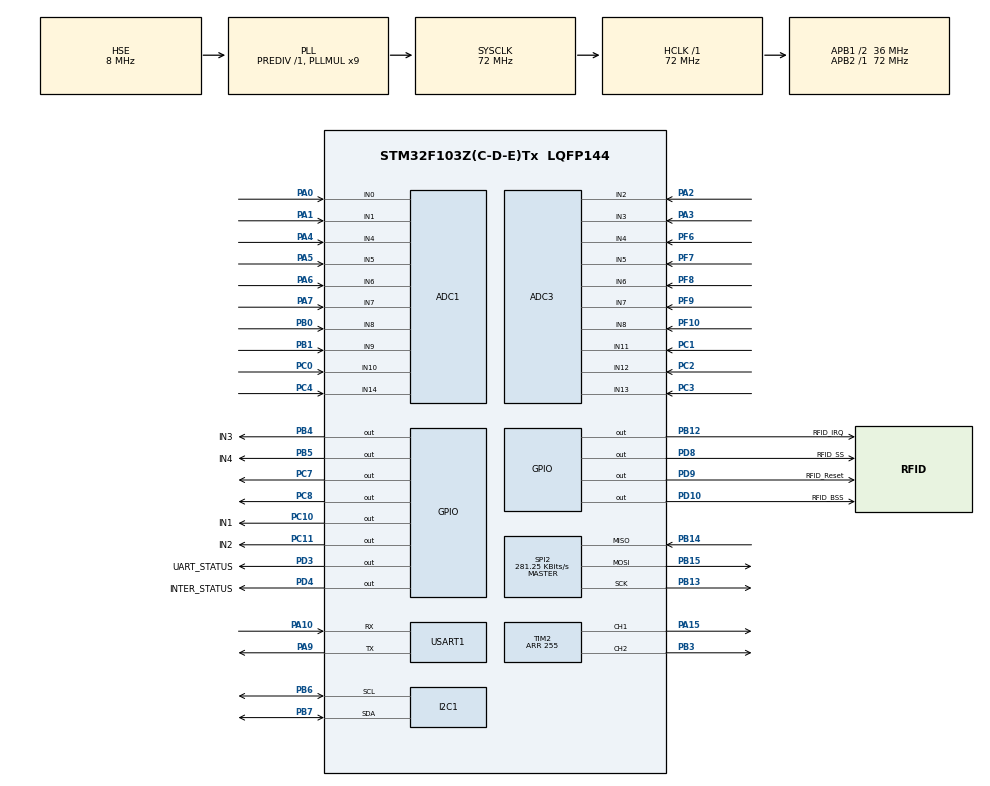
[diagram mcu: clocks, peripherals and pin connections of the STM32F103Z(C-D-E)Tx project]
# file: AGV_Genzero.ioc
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ADC1.Channel-0\#ChannelRegularConversion=ADC_CHANNEL_0
ADC1.Channel-1\#ChannelRegularConversion=ADC_CHANNEL_1
ADC1.Channel-2\#ChannelRegularConversion=ADC_CHANNEL_4
ADC1.Channel-3\#ChannelRegularConversion=ADC_CHANNEL_5
ADC1.Channel-4\#ChannelRegularConversion=ADC_CHANNEL_6
ADC1.Channel-5\#ChannelRegularConversion=ADC_CHANNEL_7
ADC1.Channel-6\#ChannelRegularConversion=ADC_CHANNEL_8
ADC1.Channel-7\#ChannelRegularConversion=ADC_CHANNEL_9
ADC1.Channel-8\#ChannelRegularConversion=ADC_CHANNEL_10
ADC1.Channel-9\#ChannelRegularConversion=ADC_CHANNEL_14
ADC1.ContinuousConvMode=ENABLE
ADC1.NbrOfConversion=10
ADC1.NbrOfConversionFlag=1
ADC1.Rank-0\#ChannelRegularConversion=1
ADC1.Rank-1\#ChannelRegularConversion=2
ADC1.Rank-2\#ChannelRegularConversion=3
ADC1.Rank-3\#ChannelRegularConversion=4
ADC1.Rank-4\#ChannelRegularConversion=5
ADC1.Rank-5\#ChannelRegularConversion=6
ADC1.Rank-6\#ChannelRegularConversion=7
ADC1.Rank-7\#ChannelRegularConversion=8
ADC1.Rank-8\#ChannelRegularConversion=9
ADC1.Rank-9\#ChannelRegularConversion=10
ADC1.SamplingTime-0\#ChannelRegularConversion=ADC_SAMPLETIME_28CYCLES_5
ADC1.SamplingTime-1\#ChannelRegularConversion=ADC_SAMPLETIME_28CYCLES_5
ADC1.SamplingTime-2\#ChannelRegularConversion=ADC_SAMPLETIME_28CYCLES_5
ADC1.SamplingTime-3\#ChannelRegularConversion=ADC_SAMPLETIME_28CYCLES_5
ADC1.SamplingTime-4\#ChannelRegularConversion=ADC_SAMPLETIME_28CYCLES_5
ADC1.SamplingTime-5\#ChannelRegularConversion=ADC_SAMPLETIME_28CYCLES_5
ADC1.SamplingTime-6\#ChannelRegularConversion=ADC_SAMPLETIME_28CYCLES_5
ADC1.SamplingTime-7\#ChannelRegularConversion=ADC_SAMPLETIME_28CYCLES_5
ADC1.SamplingTime-8\#ChannelRegularConversion=ADC_SAMPLETIME_28CYCLES_5
ADC1.SamplingTime-9\#ChannelRegularConversion=ADC_SAMPLETIME_28CYCLES_5
ADC1.master=1
ADC3.Channel-10\#ChannelRegularConversion=ADC_CHANNEL_12
ADC3.Channel-11\#ChannelRegularConversion=ADC_CHANNEL_13
ADC3.Channel-2\#ChannelRegularConversion=ADC_CHANNEL_2
ADC3.Channel-3\#ChannelRegularConversion=ADC_CHANNEL_3
ADC3.Channel-4\#ChannelRegularConversion=ADC_CHANNEL_4
ADC3.Channel-5\#ChannelRegularConversion=ADC_CHANNEL_5
ADC3.Channel-6\#ChannelRegularConversion=ADC_CHANNEL_6
ADC3.Channel-7\#ChannelRegularConversion=ADC_CHANNEL_7
ADC3.Channel-8\#ChannelRegularConversion=ADC_CHANNEL_8
ADC3.Channel-9\#ChannelRegularConversion=ADC_CHANNEL_11
ADC3.ContinuousConvMode=ENABLE
ADC3.NbrOfConversion=10
ADC3.NbrOfConversionFlag=1
ADC3.Rank-10\#ChannelRegularConversion=9
ADC3.Rank-11\#ChannelRegularConversion=10
ADC3.Rank-2\#ChannelRegularConversion=1
ADC3.Rank-3\#ChannelRegularConversion=2
ADC3.Rank-4\#ChannelRegularConversion=3
ADC3.Rank-5\#ChannelRegularConversion=4
ADC3.Rank-6\#ChannelRegularConversion=5
ADC3.Rank-7\#ChannelRegularConversion=6
ADC3.Rank-8\#ChannelRegularConversion=7
ADC3.Rank-9\#ChannelRegularConversion=8
ADC3.SamplingTime-10\#ChannelRegularConversion=ADC_SAMPLETIME_28CYCLES_5
ADC3.SamplingTime-11\#ChannelRegularConversion=ADC_SAMPLETIME_28CYCLES_5
ADC3.SamplingTime-2\#ChannelRegularConversion=ADC_SAMPLETIME_28CYCLES_5
ADC3.SamplingTime-3\#ChannelRegularConversion=ADC_SAMPLETIME_28CYCLES_5
ADC3.SamplingTime-4\#ChannelRegularConversion=ADC_SAMPLETIME_28CYCLES_5
ADC3.SamplingTime-5\#ChannelRegularConversion=ADC_SAMPLETIME_28CYCLES_5
ADC3.SamplingTime-6\#ChannelRegularConversion=ADC_SAMPLETIME_28CYCLES_5
ADC3.SamplingTime-7\#ChannelRegularConversion=ADC_SAMPLETIME_28CYCLES_5
ADC3.SamplingTime-8\#ChannelRegularConversion=ADC_SAMPLETIME_28CYCLES_5
ADC3.SamplingTime-9\#ChannelRegularConversion=ADC_SAMPLETIME_28CYCLES_5
Dma.ADC1.1.Direction=DMA_PERIPH_TO_MEMORY
Dma.ADC1.1.Instance=DMA1_Channel1
Dma.ADC1.1.MemDataAlignment=DMA_MDATAALIGN_HALFWORD
Dma.ADC1.1.MemInc=DMA_MINC_ENABLE
Dma.ADC1.1.Mode=DMA_CIRCULAR
Dma.ADC1.1.PeriphDataAlignment=DMA_PDATAALIGN_HALFWORD
Dma.ADC1.1.PeriphInc=DMA_PINC_DISABLE
Dma.ADC1.1.Priority=DMA_PRIORITY_LOW
Dma.ADC3.0.Direction=DMA_PERIPH_TO_MEMORY
Dma.ADC3.0.Instance=DMA2_Channel5
Dma.ADC3.0.MemDataAlignment=DMA_MDATAALIGN_HALFWORD
Dma.ADC3.0.MemInc=DMA_MINC_ENABLE
Dma.ADC3.0.Mode=DMA_CIRCULAR
Dma.ADC3.0.PeriphDataAlignment=DMA_PDATAALIGN_HALFWORD
Dma.ADC3.0.PeriphInc=DMA_PINC_DISABLE
Dma.ADC3.0.Priority=DMA_PRIORITY_LOW
Dma.Request0=ADC3
Dma.Request1=ADC1
Dma.Request2=USART1_TX
Dma.Request3=USART1_RX
Dma.USART1_RX.3.Direction=DMA_PERIPH_TO_MEMORY
Dma.USART1_RX.3.Instance=DMA1_Channel5
Dma.USART1_RX.3.MemDataAlignment=DMA_MDATAALIGN_BYTE
Dma.USART1_RX.3.MemInc=DMA_MINC_ENABLE
Dma.USART1_RX.3.Mode=DMA_CIRCULAR
Dma.USART1_RX.3.PeriphDataAlignment=DMA_PDATAALIGN_BYTE
Dma.USART1_RX.3.PeriphInc=DMA_PINC_DISABLE
Dma.USART1_RX.3.Priority=DMA_PRIORITY_LOW
Dma.USART1_TX.2.Direction=DMA_MEMORY_TO_PERIPH
Dma.USART1_TX.2.Instance=DMA1_Channel4
Dma.USART1_TX.2.MemDataAlignment=DMA_MDATAALIGN_BYTE
Dma.USART1_TX.2.MemInc=DMA_MINC_ENABLE
Dma.USART1_TX.2.Mode=DMA_CIRCULAR
Dma.USART1_TX.2.PeriphDataAlignment=DMA_PDATAALIGN_BYTE
Dma.USART1_TX.2.PeriphInc=DMA_PINC_DISABLE
Dma.USART1_TX.2.Priority=DMA_PRIORITY_LOW
I2C1.I2C_Mode=I2C_Fast
Mcu.Family=STM32F1
Mcu.Name=STM32F103Z(C-D-E)Tx
Mcu.Package=LQFP144
NVIC.ADC1_2_IRQn=true\:0\:0\:false\:false\:true\:true\:true\:true
NVIC.ADC3_IRQn=true\:0\:0\:false\:false\:true\:true\:true\:true
NVIC.DMA1_Channel1_IRQn=true\:0\:0\:false\:false\:true\:false\:true\:true
NVIC.DMA1_Channel4_IRQn=true\:0\:0\:false\:false\:true\:false\:true\:true
NVIC.DMA1_Channel5_IRQn=true\:0\:0\:false\:false\:true\:false\:true\:true
NVIC.DMA2_Channel4_5_IRQn=true\:0\:0\:false\:false\:true\:false\:true\:true
NVIC.PriorityGroup=NVIC_PRIORITYGROUP_4
NVIC.USART1_IRQn=true\:0\:0\:false\:false\:true\:true\:true\:true
OSC_IN.Mode=HSE-External-Oscillator
OSC_IN.Signal=RCC_OSC_IN
OSC_OUT.Mode=HSE-External-Oscillator
OSC_OUT.Signal=RCC_OSC_OUT
PA0-WKUP.Signal=ADCx_IN0
PA1.Signal=ADCx_IN1
PA10.Mode=Asynchronous
PA10.Signal=USART1_RX
PA13.Mode=Serial_Wire
PA13.Signal=SYS_JTMS-SWDIO
PA14.Mode=Serial_Wire
PA14.Signal=SYS_JTCK-SWCLK
PA15.Signal=S_TIM2_CH1_ETR
PA2.Signal=ADCx_IN2
PA3.Signal=ADCx_IN3
PA4.Signal=ADCx_IN4
PA5.Signal=ADCx_IN5
PA6.Signal=ADCx_IN6
PA7.Signal=ADCx_IN7
PA9.Mode=Asynchronous
PA9.Signal=USART1_TX
PB0.Signal=ADCx_IN8
PB1.Signal=ADCx_IN9
PB12.GPIO_Label=RFID_IRQ
PB12.Signal=GPIO_Output
PB13.Mode=Full_Duplex_Master
PB13.Signal=SPI2_SCK
PB14.Mode=Full_Duplex_Master
PB14.Signal=SPI2_MISO
PB15.Mode=Full_Duplex_Master
PB15.Signal=SPI2_MOSI
PB3.Signal=S_TIM2_CH2
PB4.GPIO_Label=IN3
PB4.Signal=GPIO_Output
PB5.GPIO_Label=IN4
PB5.Signal=GPIO_Output
PB6.Mode=I2C
PB6.Signal=I2C1_SCL
PB7.Mode=I2C
PB7.Signal=I2C1_SDA
PC0.Signal=ADCx_IN10
PC1.Signal=ADCx_IN11
PC10.GPIO_Label=IN1
PC10.Signal=GPIO_Output
PC11.GPIO_Label=IN2
PC11.Signal=GPIO_Output
PC2.Signal=ADCx_IN12
PC3.Signal=ADCx_IN13
PC4.Signal=ADCx_IN14
PC7.GPIO_Speed=GPIO_SPEED_FREQ_HIGH
PC7.Signal=GPIO_Output
PC8.GPIO_Speed=GPIO_SPEED_FREQ_HIGH
PC8.Signal=GPIO_Output
PD10.GPIO_Label=RFID_BSS
PD10.Signal=GPIO_Output
PD3.GPIO_Label=UART_STATUS
PD3.Signal=GPIO_Output
PD4.GPIO_Label=INTER_STATUS
PD4.Signal=GPIO_Output
PD8.GPIO_Label=RFID_SS
PD8.PinState=GPIO_PIN_SET
PD8.Signal=GPIO_Output
PD9.GPIO_Label=RFID_Reset
PD9.Signal=GPIO_Output
PF10.Mode=IN8
PF10.Signal=ADC3_IN8
PF6.Mode=IN4
PF6.Signal=ADC3_IN4
PF7.Mode=IN5
PF7.Signal=ADC3_IN5
PF8.Mode=IN6
PF8.Signal=ADC3_IN6
PF9.Mode=IN7
PF9.Signal=ADC3_IN7
ProjectManager.HeapSize=0x200
ProjectManager.StackSize=0x400
ProjectManager.TargetToolchain=STM32CubeIDE
RCC.ADCPresc=RCC_ADCPCLK2_DIV6
RCC.AHBFreq_Value=72000000
RCC.APB1CLKDivider=RCC_HCLK_DIV2
RCC.APB1Freq_Value=36000000
RCC.APB1TimFreq_Value=72000000
RCC.APB2Freq_Value=72000000
RCC.APB2TimFreq_Value=72000000
RCC.HCLKFreq_Value=72000000
RCC.PLLMUL=RCC_PLL_MUL9
RCC.PLLSourceVirtual=RCC_PLLSOURCE_HSE
RCC.SYSCLKFreq_VALUE=72000000
RCC.SYSCLKSource=RCC_SYSCLKSOURCE_PLLCLK
RCC.USBFreq_Value=72000000
SH.ADCx_IN0.0=ADC1_IN0,IN0
SH.ADCx_IN1.0=ADC1_IN1,IN1
SH.ADCx_IN10.0=ADC1_IN10,IN10
SH.ADCx_IN11.0=ADC3_IN11,IN11
SH.ADCx_IN12.0=ADC3_IN12,IN12
SH.ADCx_IN13.0=ADC3_IN13,IN13
SH.ADCx_IN14.0=ADC1_IN14,IN14
SH.ADCx_IN2.0=ADC3_IN2,IN2
SH.ADCx_IN3.0=ADC3_IN3,IN3
SH.ADCx_IN4.0=ADC1_IN4,IN4
SH.ADCx_IN5.0=ADC1_IN5,IN5
SH.ADCx_IN6.0=ADC1_IN6,IN6
SH.ADCx_IN7.0=ADC1_IN7,IN7
SH.ADCx_IN8.0=ADC1_IN8,IN8
SH.ADCx_IN9.0=ADC1_IN9,IN9
SH.S_TIM2_CH1_ETR.0=TIM2_CH1,PWM Generation1 CH1
SH.S_TIM2_CH2.0=TIM2_CH2,PWM Generation2 CH2
SPI2.BaudRatePrescaler=SPI_BAUDRATEPRESCALER_128
SPI2.CalculateBaudRate=281.25 KBits/s
SPI2.Direction=SPI_DIRECTION_2LINES
SPI2.FirstBit=SPI_FIRSTBIT_LSB
SPI2.Mode=SPI_MODE_MASTER
SPI2.VirtualType=VM_MASTER
TIM2.AutoReloadPreload=TIM_AUTORELOAD_PRELOAD_ENABLE
TIM2.Channel-PWM\ Generation1\ CH1=TIM_CHANNEL_1
TIM2.Channel-PWM\ Generation2\ CH2=TIM_CHANNEL_2
TIM2.Period=255
USART1.VirtualMode=VM_ASYNC
board=custom

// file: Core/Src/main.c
/* USER CODE BEGIN Header */
/**
  ******************************************************************************
  * @file           : main.c
  * @brief          : Main program body
  ******************************************************************************
  * @attention
  *
  * Copyright (c) 2024 STMicroelectronics.
  * All rights reserved.
  *
  * This software is licensed under terms that can be found in the LICENSE file
  * in the root directory of this software component.
  * If no LICENSE file comes with this software, it is provided AS-IS.
  *
  ******************************************************************************
  */
/* USER CODE END Header */
#include "main.h"

/* USER CODE BEGIN Includes */
#include "ssd1306.h"
#include "fonts.h"
#include "test.h"

#include "pn532_stm32f1.h"
/* USER CODE END Includes */

ADC_HandleTypeDef hadc1;
ADC_HandleTypeDef hadc3;
DMA_HandleTypeDef hdma_adc1;
DMA_HandleTypeDef hdma_adc3;

I2C_HandleTypeDef hi2c1;

SPI_HandleTypeDef hspi2;

TIM_HandleTypeDef htim2;

UART_HandleTypeDef huart1;
DMA_HandleTypeDef hdma_usart1_tx;
DMA_HandleTypeDef hdma_usart1_rx;

/* USER CODE BEGIN PV */

// #### LINE SENSOR VARIABLES ####

#define line_sensor_front_total_channel 10
#define line_sensor_back_total_channel 10

#define line_sensor_front_trigger_threshhold 400
#define line_sensor_back_trigger_threshhold 400

int _line_read_value;

volatile uint16_t line_sensor_front_values_dma[line_sensor_front_total_channel];
volatile uint16_t line_sensor_back_values_dma[line_sensor_back_total_channel];

volatile uint16_t line_sensor_front_values_calibrated[line_sensor_front_total_channel];
volatile uint16_t line_sensor_back_values_calibrated[line_sensor_back_total_channel];

volatile uint8_t line_sensor_front_on_line_left_number, line_sensor_front_on_line_middle_number, line_sensor_front_on_line_right_number;
volatile uint8_t line_sensor_front_on_line_total_number;

volatile uint8_t line_sensor_back_on_line_left_number, line_sensor_back_on_line_middle_number, line_sensor_back_on_line_right_number;
volatile uint8_t line_sensor_back_on_line_total_number;

uint16_t line_sensor_front_max_sensor_vales[line_sensor_front_total_channel] = {3000, 3004, 2980, 2995, 3000, 3003, 3008, 2985, 2999, 3000};
uint16_t line_sensor_front_min_sensor_vales[line_sensor_back_total_channel] = {1830, 1400, 1100, 880, 2200, 1150, 1040, 1000, 1350, 2100};

uint16_t line_sensor_back_max_sensor_vales[line_sensor_front_total_channel] = {3000, 3004, 2980, 2995, 3000, 3003, 3008, 2985, 2999, 3000};
uint16_t line_sensor_back_min_sensor_vales[line_sensor_back_total_channel] = {1830, 1400, 1100, 880, 2200, 1150, 1040, 1000, 1350, 2100};

const int line_sensor_front_channel_number = sizeof(line_sensor_front_values_dma)/sizeof(line_sensor_front_values_dma[0]);
const int line_sensor_back_channel_number = sizeof(line_sensor_back_values_dma)/sizeof(line_sensor_back_values_dma[0]);

volatile uint16_t line_sensor_front_read_line_value;
volatile uint16_t line_sensor_back_read_line_value;

// #### END LINE SENSOR VARIABLES ####

// -o-o-o-o-o-o-o-o-o-o-o-o-o-o-o-o-o-

// #### AGV ORIENTATION VARIABLES ####

uint16_t agv_orientation = 0xFFFF;

// #### END AGV ORIENTATION VARIABLES ####

// -o-o-o-o-o-o-o-o-o-o-o-o-o-o-o-o-o-

// #### DiSPLAY DATA AND BUTTON VARIABLES ####

uint8_t Tx_Data_Uart1[5];
uint8_t Rx_Data_Uart1[5];

// #### END DiSPLAY DATA AND BUTTON VARIABLES ####

// -o-o-o-o-o-o-o-o-o-o-o-o-o-o-o-o-o-

// #### PID and MOTOR SPEED VARIABLES ####

volatile float P, I, D;

float Kp = 0.4;
float Ki = 0.010;
float Kd = 0.4;

volatile float pid_last_error;
volatile float pid_error;
volatile float pid_motor_speed_change;

volatile uint16_t pid_motor_speed_A;
volatile uint16_t pid_motor_speed_B;
uint16_t pid_motor_base_speed = 200;

uint8_t agv_turn_count = 0;

uint8_t debug_oled[20];
// #### END PID and MOTOR SPEED VARIABLES ####

// -o-o-o-o-o-o-o-o-o-o-o-o-o-o-o-o-o-

// #### Task Completion Variables ####

uint16_t On_Task = 0xF00F;  // not on task = 0xF00F || on task = 0xF11F

uint8_t Station = 1;

uint8_t Current_Station = 1;
uint8_t Target_Station = 1;

uint8_t on_task_decisions[5] = {'R', 'F', 'L', 'A', 'A'};

uint16_t pid_motor_orientation;

// #### END Task Completion Variables ####

uint8_t uid[MIFARE_UID_MAX_LENGTH];
int32_t uid_len = 0;
uint8_t uid_version[10];
PN532 pn532;
uint8_t Station_id[5];

/* USER CODE END PV */

void SystemClock_Config(void);
static void MX_GPIO_Init(void);
static void MX_DMA_Init(void);
static void MX_ADC1_Init(void);
static void MX_ADC3_Init(void);
static void MX_USART1_UART_Init(void);
static void MX_TIM2_Init(void);
static void MX_I2C1_Init(void);
static void MX_SPI2_Init(void);

/* USER CODE BEGIN 0 */

void Line_Sensor_Calculation(volatile uint16_t *sensor_values,
						 	  volatile uint16_t *sensor_calibrated_values,
							      	   uint16_t *sensor_max_values,
									   uint16_t *sensor_min_values,

							  volatile uint8_t  *sensor_middle_on_line_number,

							  volatile uint8_t  *sensor_total_on_line_number,
									   uint16_t  sensor_threshhold,
									   uint8_t   sensor_numbers,
							  volatile uint16_t *line_position){
	uint8_t i, on_line = 0;
	uint32_t avg = 0;
	uint32_t sum = 0;
	uint16_t value;
	uint8_t on_sensor_total_number = 0;

	uint8_t middle_on_line = 0;

	for(i = 0; i < sensor_numbers; i++){
		uint16_t calmin, calmax;
		uint16_t denominator;
		calmax = sensor_max_values[i];
		calmin = sensor_min_values[i];

		denominator = calmax - calmin;

		int x = 0;
		if(denominator != 0){
			x = (((signed long)sensor_values[i]) - calmin) * 1000/denominator;
		}
		if(x <0){
			x = 0;
		}
		if(x>1000){
			x = 1000;
		}
		value = (1000-x);
		sensor_calibrated_values[i] = value;

		// start read line number section
		if(value > 400){
			on_line = 1;
		}
		if(value > 200){
			avg += (long)(value)*(i*1000);
			sum += value;
		}
		// end read line number section

		// start on line sensor calculation
		if(value > sensor_threshhold){
			on_sensor_total_number++;
			if(i >= 2 && i <= 7){
				middle_on_line++;
			}
		}
		// end on line sensor calculation
	}

	// start read line number section
	if(!on_line){
		if(_line_read_value < (sensor_numbers - 1) * 1000/2){
			_line_read_value = 0;
		}
		else{
			_line_read_value = (sensor_numbers - 1)*1000;
		}
	}
	else{
		_line_read_value = avg/sum;
	}
	*line_position = _line_read_value;
	// end read line number section

	// start on line sensor calculation

	*sensor_middle_on_line_number = middle_on_line;

	*sensor_total_on_line_number = on_sensor_total_number;
	// end on line sensor calculation
	// 0 - 1 - 2 - 3 - 4 - 5 - 6 - 7 - 8 - 9

	// 2 - 7 --> mid

}

void PID_control(volatile uint16_t *line_position,
				          uint16_t *motor_orientation){

	pid_error = 4500 - *line_position;

	P = pid_error;
	//I = error + I;
	I = 0;
	D = pid_error - pid_last_error;
	pid_last_error = pid_error;

	pid_motor_speed_change = P*Kp + I*Ki + D*Kd;

	pid_motor_speed_A = pid_motor_base_speed - pid_motor_speed_change;
	pid_motor_speed_B = pid_motor_base_speed + pid_motor_speed_change;

	if(pid_motor_speed_A > 255){
		pid_motor_speed_A = 255;
	}
	if(pid_motor_speed_A < 0){
		pid_motor_speed_A = 0;
	}
	if(pid_motor_speed_B > 255){
		pid_motor_speed_B = 255;
	}
	if(pid_motor_speed_B < 0){
		pid_motor_speed_B = 0;
	}

}

void PID_Forward_Rotation(uint16_t enableA, uint16_t enableB){

	//LEFT
	HAL_GPIO_WritePin(IN1_GPIO_Port, IN1_Pin, GPIO_PIN_SET);
	HAL_GPIO_WritePin(IN2_GPIO_Port, IN2_Pin, GPIO_PIN_RESET);

	//RIGHT
	HAL_GPIO_WritePin(IN3_GPIO_Port, IN3_Pin, GPIO_PIN_SET);
	HAL_GPIO_WritePin(IN4_GPIO_Port, IN4_Pin, GPIO_PIN_RESET);

	//Right
	__HAL_TIM_SET_COMPARE(&htim2, TIM_CHANNEL_1, enableA);

	//Left
	__HAL_TIM_SET_COMPARE(&htim2, TIM_CHANNEL_2, enableB);
}

void PID_Motor_Turn_Left(uint16_t _speed){
	//LEFT
	HAL_GPIO_WritePin(IN1_GPIO_Port, IN1_Pin, GPIO_PIN_RESET);
	HAL_GPIO_WritePin(IN2_GPIO_Port, IN2_Pin, GPIO_PIN_SET);

	//RIGHT
	HAL_GPIO_WritePin(IN3_GPIO_Port, IN3_Pin, GPIO_PIN_SET);
	HAL_GPIO_WritePin(IN4_GPIO_Port, IN4_Pin, GPIO_PIN_RESET);

	//Right
	__HAL_TIM_SET_COMPARE(&htim2, TIM_CHANNEL_1, _speed);

	//Left
	__HAL_TIM_SET_COMPARE(&htim2, TIM_CHANNEL_2, _speed);
}

void PID_Motor_Turn_Right(uint16_t _speed){
	//LEFT
	HAL_GPIO_WritePin(IN1_GPIO_Port, IN1_Pin, GPIO_PIN_SET);
	HAL_GPIO_WritePin(IN2_GPIO_Port, IN2_Pin, GPIO_PIN_RESET);

	//RIGHT
	HAL_GPIO_WritePin(IN3_GPIO_Port, IN3_Pin, GPIO_PIN_RESET);
	HAL_GPIO_WritePin(IN4_GPIO_Port, IN4_Pin, GPIO_PIN_SET);

	//Right
	__HAL_TIM_SET_COMPARE(&htim2, TIM_CHANNEL_1, _speed);

	//Left
	__HAL_TIM_SET_COMPARE(&htim2, TIM_CHANNEL_2, _speed);
}

void PID_Motor_All_Break(){
	//LEFT
	HAL_GPIO_WritePin(IN1_GPIO_Port, IN1_Pin, GPIO_PIN_RESET);
	HAL_GPIO_WritePin(IN2_GPIO_Port, IN2_Pin, GPIO_PIN_RESET);

	//RIGHT
	HAL_GPIO_WritePin(IN3_GPIO_Port, IN3_Pin, GPIO_PIN_RESET);
	HAL_GPIO_WritePin(IN4_GPIO_Port, IN4_Pin, GPIO_PIN_RESET);

	//Right
	__HAL_TIM_SET_COMPARE(&htim2, TIM_CHANNEL_1, 0);

	//Left
	__HAL_TIM_SET_COMPARE(&htim2, TIM_CHANNEL_2, 0);
}

void AGV_waiting(){
	if(Target_Station == Current_Station){
		On_Task = 0xF00F;
		if(Target_Station != Station){
			Target_Station = Station;
			if(Target_Station == 2){
				on_task_decisions[0] = 'R';
				on_task_decisions[1] = 'L';
				on_task_decisions[2] = 'A';
				on_task_decisions[3] = 'A';
				on_task_decisions[4] = 'A';
			}
			if(Target_Station == 3){
				on_task_decisions[0] = 'R';
				on_task_decisions[1] = 'F';
				on_task_decisions[2] = 'L';
				on_task_decisions[3] = 'A';
				on_task_decisions[4] = 'A';
			}
		}
	}
	if(Target_Station != Current_Station){
		On_Task = 0xF11F;
	}
}

void Task_Completion(){

}

void AGV_Turn_Detection_Completion(volatile uint16_t *sensor_calibrated_values,
								   volatile uint8_t  *sensor_middle_on_line_number,
								   	   	   	uint8_t  *decision_array){
#define white_detection_thresh_hold 350
#define black_detection_thresh_hold 500
#define sensor_mid_on_line_thresh_hold 1
#define first_timer_buffer 1500
#define second_timer_buffer 800
#define skip_turn_timer_buffer 100

	uint8_t _turn_decide = 0;

	if((sensor_calibrated_values[8] < white_detection_thresh_hold) && (sensor_calibrated_values[9] < white_detection_thresh_hold) &&
	   (sensor_calibrated_values[0] > black_detection_thresh_hold) && (sensor_calibrated_values[1] > black_detection_thresh_hold)){
		if(*sensor_middle_on_line_number >= 1){
			PID_Forward_Rotation(150, 150);
			HAL_Delay(first_timer_buffer);
			PID_Motor_All_Break();

			agv_turn_count += 1;
			if(decision_array[agv_turn_count - 1] == 'L'){
				PID_Motor_Turn_Left(200);
				HAL_Delay(second_timer_buffer);

				_turn_decide = 'L';
			}
			if(decision_array[agv_turn_count - 1] == 'F'){
				PID_Forward_Rotation(255, 255);
				HAL_Delay(skip_turn_timer_buffer);
				_turn_decide = 0;
			}

		}

	}
	if((sensor_calibrated_values[8] > black_detection_thresh_hold) && (sensor_calibrated_values[9] > black_detection_thresh_hold) &&
	   (sensor_calibrated_values[0] < white_detection_thresh_hold) && (sensor_calibrated_values[1] < white_detection_thresh_hold)){
		if(*sensor_middle_on_line_number >= 1){
			PID_Forward_Rotation(150, 150);
			HAL_Delay(first_timer_buffer);
			PID_Motor_All_Break();

			agv_turn_count += 1;
			if(decision_array[agv_turn_count - 1] == 'R'){
				PID_Motor_Turn_Right(200);
				HAL_Delay(second_timer_buffer);

				_turn_decide = 'R';
			}
			if(decision_array[agv_turn_count - 1] == 'F'){
				PID_Forward_Rotation(255, 255);
				HAL_Delay(skip_turn_timer_buffer);
				_turn_decide = 0;
			}
		}

	}

	if((sensor_calibrated_values[8] > black_detection_thresh_hold) && (sensor_calibrated_values[9] > black_detection_thresh_hold) &&
	   (sensor_calibrated_values[0] > black_detection_thresh_hold) && (sensor_calibrated_values[1] > black_detection_thresh_hold)){
		if(*sensor_middle_on_line_number >= 1){
			PID_Forward_Rotation(150, 150);
			HAL_Delay(first_timer_buffer);
			PID_Motor_All_Break();

			agv_turn_count += 1;
			if(decision_array[agv_turn_count - 1] == 'R'){
				PID_Motor_Turn_Right(200);
				HAL_Delay(second_timer_buffer);

				_turn_decide = 'R';
			}
			if(decision_array[agv_turn_count - 1] == 'L'){
				PID_Motor_Turn_Left(200);
				HAL_Delay(second_timer_buffer);

				_turn_decide = 'L';
			}
			if(decision_array[agv_turn_count - 1] == 'F'){
				PID_Forward_Rotation(255, 255);
				HAL_Delay(skip_turn_timer_buffer);
				_turn_decide = 0;
			}
		}

	}

	if(_turn_decide == 'L'){
		if(sensor_calibrated_values[5] < white_detection_thresh_hold){
			PID_Motor_Turn_Left(200);
		}
		if(sensor_calibrated_values[5] > black_detection_thresh_hold){
			PID_Motor_All_Break();
			_turn_decide = 0;

		}

	}
	if(_turn_decide == 'R'){
		if(sensor_calibrated_values[4] < white_detection_thresh_hold){
			PID_Motor_Turn_Right(200);
		}
		if(sensor_calibrated_values[4] > black_detection_thresh_hold){
			PID_Motor_All_Break();
			_turn_decide = 0;
		}
	}

}

void AGV_Orientation(		  uint16_t *_orientation_state,
					 volatile uint16_t *_front_line_sensor_array,
					 volatile uint16_t *_back_line_sensor_array
					 ){

}

void HAL_UART_TxCpltCallback(UART_HandleTypeDef *huart)
{
	Tx_Data_Uart1[0] = 5;
	Tx_Data_Uart1[1] = 4;
	Tx_Data_Uart1[2] = 3;
	Tx_Data_Uart1[3] = 2;
	Tx_Data_Uart1[4] = 1;
}

void HAL_UART_RxCpltCallback(UART_HandleTypeDef *huart)
{
	if(Rx_Data_Uart1[0] == 0x56){
		HAL_GPIO_TogglePin(UART_STATUS_GPIO_Port, UART_STATUS_Pin);

		if(Rx_Data_Uart1[1] == 0xF1){
			Station = 1;
		}
		if(Rx_Data_Uart1[1] == 0xF2){
			Station = 2;
		}
		if(Rx_Data_Uart1[1] == 0xF3){
			Station = 3;
		}
		if(Rx_Data_Uart1[1] == 0xF4){
			Station = 4;
		}
		if(Rx_Data_Uart1[1] == 0xF5){
			Station = 5;
		}

	}

}

void Startup_RFID(){

	PN532_SPI_Init(&pn532);
	//HAL_GPIO_WritePin(RFID_SSF_GPIO_Port, RFID_SSF_Pin, 0);

	if(PN532_GetFirmwareVersion(&pn532, uid_version) != PN532_STATUS_OK)
	{
		while(1){

		}
	}

	PN532_SamConfiguration(&pn532);

}
void AGV_RFID_Detection(){
	uid_len = PN532_ReadPassiveTarget(&pn532, uid, PN532_MIFARE_ISO14443A, 100);

	if(uid_len >= 4){
		Station_id[0] = uid[0];
		Station_id[1] = uid[1];
		Station_id[2] = uid[2];
		Station_id[3] = uid[3];
		Station_id[4] = uid[4];
	}
}

/* USER CODE END 0 */

int main(void)
{

  /* MCU Configuration--------------------------------------------------------*/

  /* Reset of all peripherals, Initializes the Flash interface and the Systick. */
  HAL_Init();

  /* Configure the system clock */
  SystemClock_Config();

  /* Initialize all configured peripherals */
  MX_GPIO_Init();
  MX_DMA_Init();
  MX_ADC1_Init();
  MX_ADC3_Init();
  MX_USART1_UART_Init();
  MX_TIM2_Init();
  MX_I2C1_Init();
  MX_SPI2_Init();
  /* USER CODE BEGIN 2 */

  HAL_TIM_PWM_Start(&htim2, TIM_CHANNEL_1);
  HAL_TIM_PWM_Start(&htim2, TIM_CHANNEL_2);

  HAL_ADC_Start_DMA(&hadc1, (uint16_t*) line_sensor_front_values_dma, line_sensor_front_channel_number);
  HAL_ADC_Start_DMA(&hadc3, (uint16_t*) line_sensor_back_values_dma, line_sensor_back_channel_number);

  HAL_UART_Transmit_DMA(&huart1, Tx_Data_Uart1, sizeof (Tx_Data_Uart1));
  HAL_UART_Receive_DMA (&huart1, Rx_Data_Uart1, sizeof (Rx_Data_Uart1));

  SSD1306_Init (); // initialize the display

  //HAL_GPIO_WritePin(RFID_BSS_GPIO_Port, RFID_BSS_Pin, RESET);
  Startup_RFID();

  /* USER CODE END 2 */

  /* Infinite loop */
  /* USER CODE BEGIN WHILE */
  while (1)
  {
//	  HAL_GPIO_WritePin(RFID_BSS_GPIO_Port, RFID_BSS_Pin, RESET);
//	  HAL_GPIO_WritePin(RFID_SS_GPIO_Port, RFID_SS_Pin, RESET);

	  AGV_RFID_Detection();
//	  if(On_Task == 0xF11F){
//		  Line_Sensor_Calculation(line_sensor_front_values_dma,
//				  	  	  	  	  line_sensor_front_values_calibrated,
//								  line_sensor_front_max_sensor_vales,
//								  line_sensor_front_min_sensor_vales,
//
//								 &line_sensor_front_on_line_middle_number,
//
//								 &line_sensor_front_on_line_total_number,
//								  line_sensor_front_trigger_threshhold,
//								  line_sensor_front_total_channel,
//								 &line_sensor_front_read_line_value);
//
//		  PID_control(&line_sensor_front_read_line_value, &pid_motor_orientation);
//
//		  PID_Forward_Rotation(pid_motor_speed_A, pid_motor_speed_B);
//
//		  AGV_Turn_Detection_Completion(line_sensor_front_values_calibrated,
//				  	  	  	  	  	   &line_sensor_front_on_line_middle_number,
//									    on_task_decisions);
//	  }
//	  else if(On_Task == 0xF00F){
//		  AGV_waiting();
//	  }

	  //AGV_Orientation(&agv_orientation, main_line_sensor_front_values_calibrated, main_line_sensor_back_values_calibrated);

	  HAL_GPIO_TogglePin(GPIOC, GPIO_PIN_8);

//	  sprintf(debug_oled, "lc: %d", agv_turn_count);
//	  SSD1306_GotoXY (10, 30);
//	  SSD1306_Puts (debug_oled, &Font_11x18, 1);
//	  SSD1306_UpdateScreen(); // update screen

	  //HAL_GPIO_TogglePin(GPIOC, GPIO_PIN_8);

    /* USER CODE END WHILE */

  }
}

void SystemClock_Config(void)
{
  RCC_OscInitTypeDef RCC_OscInitStruct = {0};
  RCC_ClkInitTypeDef RCC_ClkInitStruct = {0};
  RCC_PeriphCLKInitTypeDef PeriphClkInit = {0};

  /** Initializes the RCC Oscillators according to the specified parameters
  * in the RCC_OscInitTypeDef structure.
  */
  RCC_OscInitStruct.OscillatorType = RCC_OSCILLATORTYPE_HSE;
  RCC_OscInitStruct.HSEState = RCC_HSE_ON;
  RCC_OscInitStruct.HSEPredivValue = RCC_HSE_PREDIV_DIV1;
  RCC_OscInitStruct.HSIState = RCC_HSI_ON;
  RCC_OscInitStruct.PLL.PLLState = RCC_PLL_ON;
  RCC_OscInitStruct.PLL.PLLSource = RCC_PLLSOURCE_HSE;
  RCC_OscInitStruct.PLL.PLLMUL = RCC_PLL_MUL9;
  if (HAL_RCC_OscConfig(&RCC_OscInitStruct) != HAL_OK)
  {
    Error_Handler();
  }

  /** Initializes the CPU, AHB and APB buses clocks
  */
  RCC_ClkInitStruct.ClockType = RCC_CLOCKTYPE_HCLK|RCC_CLOCKTYPE_SYSCLK
                              |RCC_CLOCKTYPE_PCLK1|RCC_CLOCKTYPE_PCLK2;
  RCC_ClkInitStruct.SYSCLKSource = RCC_SYSCLKSOURCE_PLLCLK;
  RCC_ClkInitStruct.AHBCLKDivider = RCC_SYSCLK_DIV1;
  RCC_ClkInitStruct.APB1CLKDivider = RCC_HCLK_DIV2;
  RCC_ClkInitStruct.APB2CLKDivider = RCC_HCLK_DIV1;

  if (HAL_RCC_ClockConfig(&RCC_ClkInitStruct, FLASH_LATENCY_2) != HAL_OK)
  {
    Error_Handler();
  }
  PeriphClkInit.PeriphClockSelection = RCC_PERIPHCLK_ADC;
  PeriphClkInit.AdcClockSelection = RCC_ADCPCLK2_DIV6;
  if (HAL_RCCEx_PeriphCLKConfig(&PeriphClkInit) != HAL_OK)
  {
    Error_Handler();
  }
}

static void MX_ADC1_Init(void)
{

  ADC_ChannelConfTypeDef sConfig = {0};

  /** Common config
  */
  hadc1.Instance = ADC1;
  hadc1.Init.ScanConvMode = ADC_SCAN_ENABLE;
  hadc1.Init.ContinuousConvMode = ENABLE;
  hadc1.Init.DiscontinuousConvMode = DISABLE;
  hadc1.Init.ExternalTrigConv = ADC_SOFTWARE_START;
  hadc1.Init.DataAlign = ADC_DATAALIGN_RIGHT;
  hadc1.Init.NbrOfConversion = 10;
  if (HAL_ADC_Init(&hadc1) != HAL_OK)
  {
    Error_Handler();
  }

  /** Configure Regular Channel
  */
  sConfig.Channel = ADC_CHANNEL_0;
  sConfig.Rank = ADC_REGULAR_RANK_1;
  sConfig.SamplingTime = ADC_SAMPLETIME_28CYCLES_5;
  if (HAL_ADC_ConfigChannel(&hadc1, &sConfig) != HAL_OK)
  {
    Error_Handler();
  }

  /** Configure Regular Channel
  */
  sConfig.Channel = ADC_CHANNEL_1;
  sConfig.Rank = ADC_REGULAR_RANK_2;
  if (HAL_ADC_ConfigChannel(&hadc1, &sConfig) != HAL_OK)
  {
    Error_Handler();
  }

  /** Configure Regular Channel
  */
  sConfig.Channel = ADC_CHANNEL_4;
  sConfig.Rank = ADC_REGULAR_RANK_3;
  if (HAL_ADC_ConfigChannel(&hadc1, &sConfig) != HAL_OK)
  {
    Error_Handler();
  }

  /** Configure Regular Channel
  */
  sConfig.Channel = ADC_CHANNEL_5;
  sConfig.Rank = ADC_REGULAR_RANK_4;
  if (HAL_ADC_ConfigChannel(&hadc1, &sConfig) != HAL_OK)
  {
    Error_Handler();
  }

  /** Configure Regular Channel
  */
  sConfig.Channel = ADC_CHANNEL_6;
  sConfig.Rank = ADC_REGULAR_RANK_5;
  if (HAL_ADC_ConfigChannel(&hadc1, &sConfig) != HAL_OK)
  {
    Error_Handler();
  }

  /** Configure Regular Channel
  */
  sConfig.Channel = ADC_CHANNEL_7;
  sConfig.Rank = ADC_REGULAR_RANK_6;
  if (HAL_ADC_ConfigChannel(&hadc1, &sConfig) != HAL_OK)
  {
    Error_Handler();
  }

  /** Configure Regular Channel
  */
  sConfig.Channel = ADC_CHANNEL_8;
  sConfig.Rank = ADC_REGULAR_RANK_7;
  if (HAL_ADC_ConfigChannel(&hadc1, &sConfig) != HAL_OK)
  {
    Error_Handler();
  }

  /** Configure Regular Channel
  */
  sConfig.Channel = ADC_CHANNEL_9;
  sConfig.Rank = ADC_REGULAR_RANK_8;
  if (HAL_ADC_ConfigChannel(&hadc1, &sConfig) != HAL_OK)
  {
    Error_Handler();
  }

  /** Configure Regular Channel
  */
  sConfig.Channel = ADC_CHANNEL_10;
  sConfig.Rank = ADC_REGULAR_RANK_9;
  if (HAL_ADC_ConfigChannel(&hadc1, &sConfig) != HAL_OK)
  {
    Error_Handler();
  }

  /** Configure Regular Channel
  */
  sConfig.Channel = ADC_CHANNEL_14;
  sConfig.Rank = ADC_REGULAR_RANK_10;
  if (HAL_ADC_ConfigChannel(&hadc1, &sConfig) != HAL_OK)
  {
    Error_Handler();
  }

}

static void MX_ADC3_Init(void)
{

  ADC_ChannelConfTypeDef sConfig = {0};

  /** Common config
  */
  hadc3.Instance = ADC3;
  hadc3.Init.ScanConvMode = ADC_SCAN_ENABLE;
  hadc3.Init.ContinuousConvMode = ENABLE;
  hadc3.Init.DiscontinuousConvMode = DISABLE;
  hadc3.Init.ExternalTrigConv = ADC_SOFTWARE_START;
  hadc3.Init.DataAlign = ADC_DATAALIGN_RIGHT;
  hadc3.Init.NbrOfConversion = 10;
  if (HAL_ADC_Init(&hadc3) != HAL_OK)
  {
    Error_Handler();
  }

  /** Configure Regular Channel
  */
  sConfig.Channel = ADC_CHANNEL_2;
  sConfig.Rank = ADC_REGULAR_RANK_1;
  sConfig.SamplingTime = ADC_SAMPLETIME_28CYCLES_5;
  if (HAL_ADC_ConfigChannel(&hadc3, &sConfig) != HAL_OK)
  {
    Error_Handler();
  }

  /** Configure Regular Channel
  */
  sConfig.Channel = ADC_CHANNEL_3;
  sConfig.Rank = ADC_REGULAR_RANK_2;
  if (HAL_ADC_ConfigChannel(&hadc3, &sConfig) != HAL_OK)
  {
    Error_Handler();
  }

  /** Configure Regular Channel
  */
  sConfig.Channel = ADC_CHANNEL_4;
  sConfig.Rank = ADC_REGULAR_RANK_3;
  if (HAL_ADC_ConfigChannel(&hadc3, &sConfig) != HAL_OK)
  {
    Error_Handler();
  }

  /** Configure Regular Channel
  */
  sConfig.Channel = ADC_CHANNEL_5;
  sConfig.Rank = ADC_REGULAR_RANK_4;
  if (HAL_ADC_ConfigChannel(&hadc3, &sConfig) != HAL_OK)
  {
    Error_Handler();
  }

  /** Configure Regular Channel
  */
  sConfig.Channel = ADC_CHANNEL_6;
  sConfig.Rank = ADC_REGULAR_RANK_5;
  if (HAL_ADC_ConfigChannel(&hadc3, &sConfig) != HAL_OK)
  {
    Error_Handler();
  }

  /** Configure Regular Channel
  */
  sConfig.Channel = ADC_CHANNEL_7;
  sConfig.Rank = ADC_REGULAR_RANK_6;
  if (HAL_ADC_ConfigChannel(&hadc3, &sConfig) != HAL_OK)
  {
    Error_Handler();
  }

  /** Configure Regular Channel
  */
  sConfig.Channel = ADC_CHANNEL_8;
  sConfig.Rank = ADC_REGULAR_RANK_7;
  if (HAL_ADC_ConfigChannel(&hadc3, &sConfig) != HAL_OK)
  {
    Error_Handler();
  }

  /** Configure Regular Channel
  */
  sConfig.Channel = ADC_CHANNEL_11;
  sConfig.Rank = ADC_REGULAR_RANK_8;
  if (HAL_ADC_ConfigChannel(&hadc3, &sConfig) != HAL_OK)
  {
    Error_Handler();
  }

  /** Configure Regular Channel
  */
  sConfig.Channel = ADC_CHANNEL_12;
  sConfig.Rank = ADC_REGULAR_RANK_9;
  if (HAL_ADC_ConfigChannel(&hadc3, &sConfig) != HAL_OK)
  {
    Error_Handler();
  }

  /** Configure Regular Channel
  */
  sConfig.Channel = ADC_CHANNEL_13;
  sConfig.Rank = ADC_REGULAR_RANK_10;
  if (HAL_ADC_ConfigChannel(&hadc3, &sConfig) != HAL_OK)
  {
    Error_Handler();
  }

}

static void MX_I2C1_Init(void)
{

  hi2c1.Instance = I2C1;
  hi2c1.Init.ClockSpeed = 400000;
  hi2c1.Init.DutyCycle = I2C_DUTYCYCLE_2;
  hi2c1.Init.OwnAddress1 = 0;
  hi2c1.Init.AddressingMode = I2C_ADDRESSINGMODE_7BIT;
  hi2c1.Init.DualAddressMode = I2C_DUALADDRESS_DISABLE;
  hi2c1.Init.OwnAddress2 = 0;
  hi2c1.Init.GeneralCallMode = I2C_GENERALCALL_DISABLE;
  hi2c1.Init.NoStretchMode = I2C_NOSTRETCH_DISABLE;
  if (HAL_I2C_Init(&hi2c1) != HAL_OK)
  {
    Error_Handler();
  }

}

static void MX_SPI2_Init(void)
{

  /* SPI2 parameter configuration*/
  hspi2.Instance = SPI2;
  hspi2.Init.Mode = SPI_MODE_MASTER;
  hspi2.Init.Direction = SPI_DIRECTION_2LINES;
  hspi2.Init.DataSize = SPI_DATASIZE_8BIT;
  hspi2.Init.CLKPolarity = SPI_POLARITY_LOW;
  hspi2.Init.CLKPhase = SPI_PHASE_1EDGE;
  hspi2.Init.NSS = SPI_NSS_SOFT;
  hspi2.Init.BaudRatePrescaler = SPI_BAUDRATEPRESCALER_128;
  hspi2.Init.FirstBit = SPI_FIRSTBIT_LSB;
  hspi2.Init.TIMode = SPI_TIMODE_DISABLE;
  hspi2.Init.CRCCalculation = SPI_CRCCALCULATION_DISABLE;
  hspi2.Init.CRCPolynomial = 10;
  if (HAL_SPI_Init(&hspi2) != HAL_OK)
  {
    Error_Handler();
  }

}

static void MX_TIM2_Init(void)
{

  TIM_MasterConfigTypeDef sMasterConfig = {0};
  TIM_OC_InitTypeDef sConfigOC = {0};

  htim2.Instance = TIM2;
  htim2.Init.Prescaler = 0;
  htim2.Init.CounterMode = TIM_COUNTERMODE_UP;
  htim2.Init.Period = 255;
  htim2.Init.ClockDivision = TIM_CLOCKDIVISION_DIV1;
  htim2.Init.AutoReloadPreload = TIM_AUTORELOAD_PRELOAD_ENABLE;
  if (HAL_TIM_PWM_Init(&htim2) != HAL_OK)
  {
    Error_Handler();
  }
  sMasterConfig.MasterOutputTrigger = TIM_TRGO_RESET;
  sMasterConfig.MasterSlaveMode = TIM_MASTERSLAVEMODE_DISABLE;
  if (HAL_TIMEx_MasterConfigSynchronization(&htim2, &sMasterConfig) != HAL_OK)
  {
    Error_Handler();
  }
  sConfigOC.OCMode = TIM_OCMODE_PWM1;
  sConfigOC.Pulse = 0;
  sConfigOC.OCPolarity = TIM_OCPOLARITY_HIGH;
  sConfigOC.OCFastMode = TIM_OCFAST_DISABLE;
  if (HAL_TIM_PWM_ConfigChannel(&htim2, &sConfigOC, TIM_CHANNEL_1) != HAL_OK)
  {
    Error_Handler();
  }
  if (HAL_TIM_PWM_ConfigChannel(&htim2, &sConfigOC, TIM_CHANNEL_2) != HAL_OK)
  {
    Error_Handler();
  }
  HAL_TIM_MspPostInit(&htim2);

}

static void MX_USART1_UART_Init(void)
{

  huart1.Instance = USART1;
  huart1.Init.BaudRate = 115200;
  huart1.Init.WordLength = UART_WORDLENGTH_8B;
  huart1.Init.StopBits = UART_STOPBITS_1;
  huart1.Init.Parity = UART_PARITY_NONE;
  huart1.Init.Mode = UART_MODE_TX_RX;
  huart1.Init.HwFlowCtl = UART_HWCONTROL_NONE;
  huart1.Init.OverSampling = UART_OVERSAMPLING_16;
  if (HAL_UART_Init(&huart1) != HAL_OK)
  {
    Error_Handler();
  }

}

static void MX_DMA_Init(void)
{

  /* DMA controller clock enable */
  __HAL_RCC_DMA2_CLK_ENABLE();
  __HAL_RCC_DMA1_CLK_ENABLE();

  /* DMA interrupt init */
  /* DMA1_Channel1_IRQn interrupt configuration */
  HAL_NVIC_SetPriority(DMA1_Channel1_IRQn, 0, 0);
  HAL_NVIC_EnableIRQ(DMA1_Channel1_IRQn);
  /* DMA1_Channel4_IRQn interrupt configuration */
  HAL_NVIC_SetPriority(DMA1_Channel4_IRQn, 0, 0);
  HAL_NVIC_EnableIRQ(DMA1_Channel4_IRQn);
  /* DMA1_Channel5_IRQn interrupt configuration */
  HAL_NVIC_SetPriority(DMA1_Channel5_IRQn, 0, 0);
  HAL_NVIC_EnableIRQ(DMA1_Channel5_IRQn);
  /* DMA2_Channel4_5_IRQn interrupt configuration */
  HAL_NVIC_SetPriority(DMA2_Channel4_5_IRQn, 0, 0);
  HAL_NVIC_EnableIRQ(DMA2_Channel4_5_IRQn);

}

static void MX_GPIO_Init(void)
{
  GPIO_InitTypeDef GPIO_InitStruct = {0};

  /* GPIO Ports Clock Enable */
  __HAL_RCC_GPIOF_CLK_ENABLE();
  __HAL_RCC_GPIOC_CLK_ENABLE();
  __HAL_RCC_GPIOA_CLK_ENABLE();
  __HAL_RCC_GPIOB_CLK_ENABLE();
  __HAL_RCC_GPIOD_CLK_ENABLE();

  /*Configure GPIO pin Output Level */
  HAL_GPIO_WritePin(GPIOB, RFID_IRQ_Pin|IN3_Pin|IN4_Pin, GPIO_PIN_RESET);

  /*Configure GPIO pin Output Level */
  HAL_GPIO_WritePin(RFID_SS_GPIO_Port, RFID_SS_Pin, GPIO_PIN_SET);

  /*Configure GPIO pin Output Level */
  HAL_GPIO_WritePin(GPIOD, RFID_Reset_Pin|RFID_BSS_Pin|UART_STATUS_Pin|INTER_STATUS_Pin, GPIO_PIN_RESET);

  /*Configure GPIO pin Output Level */
  HAL_GPIO_WritePin(GPIOC, GPIO_PIN_7|GPIO_PIN_8|IN1_Pin|IN2_Pin, GPIO_PIN_RESET);

  /*Configure GPIO pins : RFID_IRQ_Pin IN3_Pin IN4_Pin */
  GPIO_InitStruct.Pin = RFID_IRQ_Pin|IN3_Pin|IN4_Pin;
  GPIO_InitStruct.Mode = GPIO_MODE_OUTPUT_PP;
  GPIO_InitStruct.Pull = GPIO_NOPULL;
  GPIO_InitStruct.Speed = GPIO_SPEED_FREQ_LOW;
  HAL_GPIO_Init(GPIOB, &GPIO_InitStruct);

  /*Configure GPIO pins : RFID_SS_Pin RFID_Reset_Pin RFID_BSS_Pin UART_STATUS_Pin
                           INTER_STATUS_Pin */
  GPIO_InitStruct.Pin = RFID_SS_Pin|RFID_Reset_Pin|RFID_BSS_Pin|UART_STATUS_Pin
                          |INTER_STATUS_Pin;
  GPIO_InitStruct.Mode = GPIO_MODE_OUTPUT_PP;
  GPIO_InitStruct.Pull = GPIO_NOPULL;
  GPIO_InitStruct.Speed = GPIO_SPEED_FREQ_LOW;
  HAL_GPIO_Init(GPIOD, &GPIO_InitStruct);

  /*Configure GPIO pins : PC7 PC8 */
  GPIO_InitStruct.Pin = GPIO_PIN_7|GPIO_PIN_8;
  GPIO_InitStruct.Mode = GPIO_MODE_OUTPUT_PP;
  GPIO_InitStruct.Pull = GPIO_NOPULL;
  GPIO_InitStruct.Speed = GPIO_SPEED_FREQ_HIGH;
  HAL_GPIO_Init(GPIOC, &GPIO_InitStruct);

  /*Configure GPIO pins : IN1_Pin IN2_Pin */
  GPIO_InitStruct.Pin = IN1_Pin|IN2_Pin;
  GPIO_InitStruct.Mode = GPIO_MODE_OUTPUT_PP;
  GPIO_InitStruct.Pull = GPIO_NOPULL;
  GPIO_InitStruct.Speed = GPIO_SPEED_FREQ_LOW;
  HAL_GPIO_Init(GPIOC, &GPIO_InitStruct);

}

void Error_Handler(void)
{
  __disable_irq();
  while (1)
  {
  }
}
